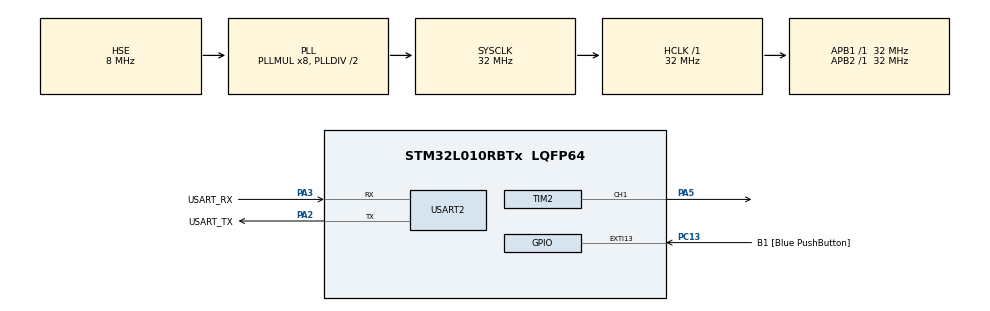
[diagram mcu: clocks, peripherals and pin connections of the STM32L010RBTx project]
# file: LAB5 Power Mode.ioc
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Mcu.Family=STM32L0
Mcu.Name=STM32L010RBTx
Mcu.Package=LQFP64
PA13.GPIO_Label=TMS
PA13.Mode=Serial_Wire
PA13.Signal=SYS_SWDIO
PA14.GPIO_Label=TCK
PA14.Mode=Serial_Wire
PA14.Signal=SYS_SWCLK
PA2.GPIO_Label=USART_TX
PA2.Mode=Asynchronous
PA2.Signal=USART2_TX
PA3.GPIO_Label=USART_RX
PA3.Mode=Asynchronous
PA3.Signal=USART2_RX
PA5.Signal=S_TIM2_CH1
PC13.GPIO_Label=B1 [Blue PushButton]
PC13.GPIO_ModeDefaultEXTI=GPIO_MODE_EVT_FALLING
PC13.Signal=GPXTI13
PC14-OSC32_IN.Mode=LSE-External-Oscillator
PC14-OSC32_IN.Signal=RCC_OSC32_IN
PC15-OSC32_OUT.Mode=LSE-External-Oscillator
PC15-OSC32_OUT.Signal=RCC_OSC32_OUT
PH0-OSC_IN.GPIO_Label=MCO
PH0-OSC_IN.Mode=HSE-External-Clock-Source
PH0-OSC_IN.Signal=RCC_OSC_IN
ProjectManager.HeapSize=0x200
ProjectManager.StackSize=0x400
ProjectManager.TargetToolchain=STM32CubeIDE
RCC.AHBFreq_Value=32000000
RCC.APB1Freq_Value=32000000
RCC.APB1TimFreq_Value=32000000
RCC.APB2Freq_Value=32000000
RCC.APB2TimFreq_Value=32000000
RCC.HCLKFreq_Value=32000000
RCC.HSE_VALUE=8000000
RCC.HSI16_VALUE=16000000
RCC.HSI48_VALUE=48000000
RCC.HSI_VALUE=16000000
RCC.MSI_VALUE=2097000
RCC.PLLMUL=RCC_PLLMUL_8
RCC.PLLSourceVirtual=RCC_PLLSOURCE_HSE
RCC.SYSCLKFreq_VALUE=32000000
RCC.SYSCLKSource=RCC_SYSCLKSOURCE_PLLCLK
RCC.VCOOutputFreq_Value=64000000
SH.S_TIM2_CH1.0=TIM2_CH1,PWM Generation1 CH1
TIM2.Channel-PWM\ Generation1\ CH1=TIM_CHANNEL_1
TIM2.Period=3200
TIM2.Prescaler=10000-1
TIM2.Pulse-PWM\ Generation1\ CH1=1600
USART2.VirtualMode-Asynchronous=VM_ASYNC
VP_TIM2_VS_ClockSourceINT.Mode=Internal
board=NUCLEO-L010RB

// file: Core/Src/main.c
/* USER CODE BEGIN Header */
/**
 ******************************************************************************
 * @file           : main.c
 * @brief          : Main program body
 ******************************************************************************
 * @attention
 *
 * Copyright (c) 2023 STMicroelectronics.
 * All rights reserved.
 *
 * This software is licensed under terms that can be found in the LICENSE file
 * in the root directory of this software component.
 * If no LICENSE file comes with this software, it is provided AS-IS.
 *
 ******************************************************************************
 */
/* USER CODE END Header */
#include "main.h"

TIM_HandleTypeDef htim2;

UART_HandleTypeDef huart2;

/* USER CODE BEGIN PV */

struct {
	int Sleep;
	int Stop;
	int Standby;
} Enter = { 0 };

/* USER CODE END PV */

void SystemClock_Config(void);
static void MX_GPIO_Init(void);
static void MX_USART2_UART_Init(void);
static void MX_TIM2_Init(void);

int main(void)
{

  /* MCU Configuration--------------------------------------------------------*/

  /* Reset of all peripherals, Initializes the Flash interface and the Systick. */
  HAL_Init();

  /* Configure the system clock */
  SystemClock_Config();

  /* Initialize all configured peripherals */
  MX_GPIO_Init();
  MX_USART2_UART_Init();
  MX_TIM2_Init();
  /* USER CODE BEGIN 2 */

	HAL_TIM_Base_Start(&htim2);
	HAL_TIM_PWM_Start(&htim2, TIM_CHANNEL_1);
	HAL_Delay(5000);

  /* USER CODE END 2 */

  /* Infinite loop */
  /* USER CODE BEGIN WHILE */
	while (1) {

		//simulate task
		__HAL_TIM_SET_COMPARE(&htim2, TIM_CHANNEL_1, 400);
		HAL_Delay(3000);
		__HAL_TIM_SET_COMPARE(&htim2, TIM_CHANNEL_1, 2800);
		HAL_Delay(3000);

		if (Enter.Sleep) {
			HAL_SuspendTick();
			HAL_NVIC_ClearPendingIRQ(EXTI4_15_IRQn);
			__HAL_GPIO_EXTI_CLEAR_IT(GPIO_PIN_13);
			HAL_PWR_EnterSLEEPMode(PWR_MAINREGULATOR_ON, PWR_SLEEPENTRY_WFE);
			//CPU PAUSE HERE
			HAL_ResumeTick();
			Enter.Sleep = 0;
		}

		if (Enter.Stop) {
			HAL_SuspendTick();
			HAL_NVIC_ClearPendingIRQ(EXTI4_15_IRQn);
			__HAL_GPIO_EXTI_CLEAR_IT(GPIO_PIN_13);
			HAL_PWR_EnterSTOPMode(PWR_MAINREGULATOR_ON, PWR_SLEEPENTRY_WFE);
			//CPU PAUSE HERE
			SystemClock_Config();
			HAL_ResumeTick();
			Enter.Stop = 0;
		}

		if (Enter.Standby) {
			HAL_PWR_EnableWakeUpPin(PWR_WAKEUP_PIN2);
			__HAL_PWR_CLEAR_FLAG(PWR_FLAG_WU);
			//we can read __HAL_PWR_GET_FLAG(PWR_FLAG_WU) to identify reset cause
			//or read PWR->CSR
			HAL_PWR_EnterSTANDBYMode();
			//code will never run up to here
		}
		__HAL_RCC_GET_FLAG(RCC_FLAG_PINRST);

    /* USER CODE END WHILE */

	}
}

void SystemClock_Config(void)
{
  RCC_OscInitTypeDef RCC_OscInitStruct = {0};
  RCC_ClkInitTypeDef RCC_ClkInitStruct = {0};
  RCC_PeriphCLKInitTypeDef PeriphClkInit = {0};

  /** Configure the main internal regulator output voltage
  */
  __HAL_PWR_VOLTAGESCALING_CONFIG(PWR_REGULATOR_VOLTAGE_SCALE1);

  /** Initializes the RCC Oscillators according to the specified parameters
  * in the RCC_OscInitTypeDef structure.
  */
  RCC_OscInitStruct.OscillatorType = RCC_OSCILLATORTYPE_HSE;
  RCC_OscInitStruct.HSEState = RCC_HSE_BYPASS;
  RCC_OscInitStruct.PLL.PLLState = RCC_PLL_ON;
  RCC_OscInitStruct.PLL.PLLSource = RCC_PLLSOURCE_HSE;
  RCC_OscInitStruct.PLL.PLLMUL = RCC_PLLMUL_8;
  RCC_OscInitStruct.PLL.PLLDIV = RCC_PLLDIV_2;
  if (HAL_RCC_OscConfig(&RCC_OscInitStruct) != HAL_OK)
  {
    Error_Handler();
  }

  /** Initializes the CPU, AHB and APB buses clocks
  */
  RCC_ClkInitStruct.ClockType = RCC_CLOCKTYPE_HCLK|RCC_CLOCKTYPE_SYSCLK
                              |RCC_CLOCKTYPE_PCLK1|RCC_CLOCKTYPE_PCLK2;
  RCC_ClkInitStruct.SYSCLKSource = RCC_SYSCLKSOURCE_PLLCLK;
  RCC_ClkInitStruct.AHBCLKDivider = RCC_SYSCLK_DIV1;
  RCC_ClkInitStruct.APB1CLKDivider = RCC_HCLK_DIV1;
  RCC_ClkInitStruct.APB2CLKDivider = RCC_HCLK_DIV1;

  if (HAL_RCC_ClockConfig(&RCC_ClkInitStruct, FLASH_LATENCY_1) != HAL_OK)
  {
    Error_Handler();
  }
  PeriphClkInit.PeriphClockSelection = RCC_PERIPHCLK_USART2;
  PeriphClkInit.Usart2ClockSelection = RCC_USART2CLKSOURCE_PCLK1;
  if (HAL_RCCEx_PeriphCLKConfig(&PeriphClkInit) != HAL_OK)
  {
    Error_Handler();
  }
}

static void MX_TIM2_Init(void)
{

  TIM_ClockConfigTypeDef sClockSourceConfig = {0};
  TIM_MasterConfigTypeDef sMasterConfig = {0};
  TIM_OC_InitTypeDef sConfigOC = {0};

  htim2.Instance = TIM2;
  htim2.Init.Prescaler = 10000-1;
  htim2.Init.CounterMode = TIM_COUNTERMODE_UP;
  htim2.Init.Period = 3200;
  htim2.Init.ClockDivision = TIM_CLOCKDIVISION_DIV1;
  htim2.Init.AutoReloadPreload = TIM_AUTORELOAD_PRELOAD_DISABLE;
  if (HAL_TIM_Base_Init(&htim2) != HAL_OK)
  {
    Error_Handler();
  }
  sClockSourceConfig.ClockSource = TIM_CLOCKSOURCE_INTERNAL;
  if (HAL_TIM_ConfigClockSource(&htim2, &sClockSourceConfig) != HAL_OK)
  {
    Error_Handler();
  }
  if (HAL_TIM_PWM_Init(&htim2) != HAL_OK)
  {
    Error_Handler();
  }
  sMasterConfig.MasterOutputTrigger = TIM_TRGO_RESET;
  sMasterConfig.MasterSlaveMode = TIM_MASTERSLAVEMODE_DISABLE;
  if (HAL_TIMEx_MasterConfigSynchronization(&htim2, &sMasterConfig) != HAL_OK)
  {
    Error_Handler();
  }
  sConfigOC.OCMode = TIM_OCMODE_PWM1;
  sConfigOC.Pulse = 1600;
  sConfigOC.OCPolarity = TIM_OCPOLARITY_HIGH;
  sConfigOC.OCFastMode = TIM_OCFAST_DISABLE;
  if (HAL_TIM_PWM_ConfigChannel(&htim2, &sConfigOC, TIM_CHANNEL_1) != HAL_OK)
  {
    Error_Handler();
  }
  HAL_TIM_MspPostInit(&htim2);

}

static void MX_USART2_UART_Init(void)
{

  huart2.Instance = USART2;
  huart2.Init.BaudRate = 115200;
  huart2.Init.WordLength = UART_WORDLENGTH_8B;
  huart2.Init.StopBits = UART_STOPBITS_1;
  huart2.Init.Parity = UART_PARITY_NONE;
  huart2.Init.Mode = UART_MODE_TX_RX;
  huart2.Init.HwFlowCtl = UART_HWCONTROL_NONE;
  huart2.Init.OverSampling = UART_OVERSAMPLING_16;
  huart2.Init.OneBitSampling = UART_ONE_BIT_SAMPLE_DISABLE;
  huart2.AdvancedInit.AdvFeatureInit = UART_ADVFEATURE_NO_INIT;
  if (HAL_UART_Init(&huart2) != HAL_OK)
  {
    Error_Handler();
  }

}

static void MX_GPIO_Init(void)
{
  GPIO_InitTypeDef GPIO_InitStruct = {0};

  /* GPIO Ports Clock Enable */
  __HAL_RCC_GPIOC_CLK_ENABLE();
  __HAL_RCC_GPIOH_CLK_ENABLE();
  __HAL_RCC_GPIOA_CLK_ENABLE();

  /*Configure GPIO pin : B1_Pin */
  GPIO_InitStruct.Pin = B1_Pin;
  GPIO_InitStruct.Mode = GPIO_MODE_EVT_FALLING;
  GPIO_InitStruct.Pull = GPIO_NOPULL;
  HAL_GPIO_Init(B1_GPIO_Port, &GPIO_InitStruct);

}

void Error_Handler(void)
{
	__disable_irq();
	while (1) {
	}
}
